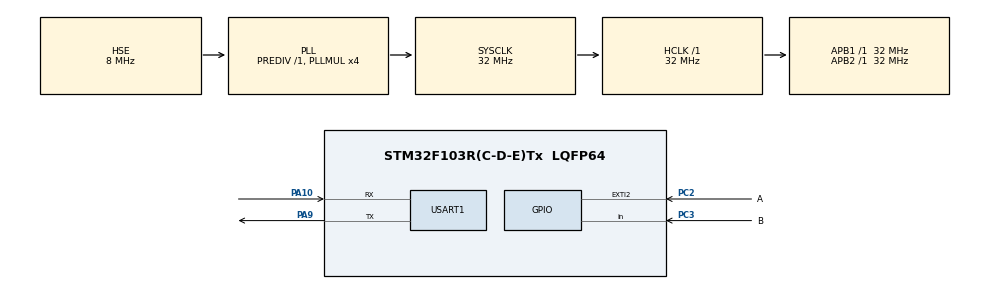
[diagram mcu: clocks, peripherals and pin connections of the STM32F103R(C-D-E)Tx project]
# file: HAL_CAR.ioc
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Mcu.Family=STM32F1
Mcu.Name=STM32F103R(C-D-E)Tx
Mcu.Package=LQFP64
NVIC.EXTI2_IRQn=true\:0\:0\:false\:false\:true\:true\:true
NVIC.PriorityGroup=NVIC_PRIORITYGROUP_4
NVIC.TIM2_IRQn=true\:0\:0\:false\:false\:true\:true\:true
NVIC.USART1_IRQn=true\:0\:0\:false\:false\:true\:true\:true
PA10.Mode=Asynchronous
PA10.Signal=USART1_RX
PA13.Mode=Serial_Wire
PA13.Signal=SYS_JTMS-SWDIO
PA14.Mode=Serial_Wire
PA14.Signal=SYS_JTCK-SWCLK
PA9.Mode=Asynchronous
PA9.Signal=USART1_TX
PC2.GPIO_Label=A
PC2.GPIO_ModeDefaultEXTI=GPIO_MODE_IT_RISING
PC2.GPIO_PuPd=GPIO_PULLDOWN
PC2.Signal=GPXTI2
PC3.GPIO_Label=B
PC3.Signal=GPIO_Input
PD0-OSC_IN.Mode=HSE-External-Oscillator
PD0-OSC_IN.Signal=RCC_OSC_IN
PD1-OSC_OUT.Mode=HSE-External-Oscillator
PD1-OSC_OUT.Signal=RCC_OSC_OUT
ProjectManager.HeapSize=0x200
ProjectManager.StackSize=0x400
ProjectManager.TargetToolchain=Other Toolchains (GPDSC)
RCC.AHBFreq_Value=32000000
RCC.APB1Freq_Value=32000000
RCC.APB1TimFreq_Value=32000000
RCC.APB2Freq_Value=32000000
RCC.APB2TimFreq_Value=32000000
RCC.HCLKFreq_Value=32000000
RCC.PLLMUL=RCC_PLL_MUL4
RCC.PLLSourceVirtual=RCC_PLLSOURCE_HSE
RCC.SYSCLKFreq_VALUE=32000000
RCC.SYSCLKSource=RCC_SYSCLKSOURCE_PLLCLK
RCC.USBFreq_Value=32000000
TIM2.Period=199
TIM2.Prescaler=31999
USART1.VirtualMode=VM_ASYNC
VP_TIM2_VS_ClockSourceINT.Mode=Internal
board=custom

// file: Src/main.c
/* USER CODE BEGIN Header */
/**
  ******************************************************************************
  * @file           : main.c
  * @brief          : Main program body
  ******************************************************************************
  * @attention
  *
  * <h2><center>&copy; Copyright (c) 2020 STMicroelectronics.
  * All rights reserved.</center></h2>
  *
  * This software component is licensed by ST under BSD 3-Clause license,
  * the "License"; You may not use this file except in compliance with the
  * License. You may obtain a copy of the License at:
  *                        opensource.org/licenses/BSD-3-Clause
  *
  ******************************************************************************
  */
/* USER CODE END Header */

#include "main.h"
#include "tim.h"
#include "usart.h"
#include "gpio.h"

void SystemClock_Config(void);

/* USER CODE BEGIN 0 */
int COUNT = 0;             //用来计数
char str_buff[64];
char point[64];
float speed = 0;               //速度
int flag = 0;                  //flag=0时计数，flag=1时清零

void HAL_GPIO_EXTI_Callback(uint16_t GPIO_Pin)
{
	if (GPIO_Pin == GPIO_PIN_2)
	{
		if (flag == 1)
			COUNT = 0;
		else
		{
			if (HAL_GPIO_ReadPin(GPIOC, GPIO_PIN_3) == 0)
				COUNT++;
			else
			{
				COUNT--;
			}
		}
	}
}

void HAL_TIM_PeriodElapsedCallback(TIM_HandleTypeDef *htim)
{
	if (htim->Instance == TIM2)
	{
		if (flag == 0)
		{
			speed = (float)COUNT * 3.14 * 0.14 / (90 * 0.2)*100/34; //cm/s
			sprintf(str_buff, "speed:%dcm/s\r\n",(int)speed);
			HAL_UART_Transmit_IT(&huart1, (uint8_t*)str_buff, sizeof(str_buff));
			flag = 1;
		}
		else
		{
			flag = 0;
		}
	}
}
/* USER CODE END 0 */

int main(void)
{

  /* MCU Configuration--------------------------------------------------------*/

  /* Reset of all peripherals, Initializes the Flash interface and the Systick. */
  HAL_Init();

  /* Configure the system clock */
  SystemClock_Config();

  /* Initialize all configured peripherals */
  MX_GPIO_Init();
  MX_TIM2_Init();
  MX_USART1_UART_Init();
  /* USER CODE BEGIN 2 */
	HAL_TIM_Base_Start_IT(&htim2);
  /* USER CODE END 2 */

  /* Infinite loop */
  while (1)
  {

  }
}

void SystemClock_Config(void)
{
  RCC_OscInitTypeDef RCC_OscInitStruct = {0};
  RCC_ClkInitTypeDef RCC_ClkInitStruct = {0};

  /** Initializes the CPU, AHB and APB busses clocks
  */
  RCC_OscInitStruct.OscillatorType = RCC_OSCILLATORTYPE_HSE;
  RCC_OscInitStruct.HSEState = RCC_HSE_ON;
  RCC_OscInitStruct.HSEPredivValue = RCC_HSE_PREDIV_DIV1;
  RCC_OscInitStruct.HSIState = RCC_HSI_ON;
  RCC_OscInitStruct.PLL.PLLState = RCC_PLL_ON;
  RCC_OscInitStruct.PLL.PLLSource = RCC_PLLSOURCE_HSE;
  RCC_OscInitStruct.PLL.PLLMUL = RCC_PLL_MUL4;
  if (HAL_RCC_OscConfig(&RCC_OscInitStruct) != HAL_OK)
  {
    Error_Handler();
  }
  /** Initializes the CPU, AHB and APB busses clocks
  */
  RCC_ClkInitStruct.ClockType = RCC_CLOCKTYPE_HCLK|RCC_CLOCKTYPE_SYSCLK
                              |RCC_CLOCKTYPE_PCLK1|RCC_CLOCKTYPE_PCLK2;
  RCC_ClkInitStruct.SYSCLKSource = RCC_SYSCLKSOURCE_PLLCLK;
  RCC_ClkInitStruct.AHBCLKDivider = RCC_SYSCLK_DIV1;
  RCC_ClkInitStruct.APB1CLKDivider = RCC_HCLK_DIV1;
  RCC_ClkInitStruct.APB2CLKDivider = RCC_HCLK_DIV1;

  if (HAL_RCC_ClockConfig(&RCC_ClkInitStruct, FLASH_LATENCY_1) != HAL_OK)
  {
    Error_Handler();
  }
}

void Error_Handler(void)
{
}

/************************ (C) COPYRIGHT STMicroelectronics *****END OF FILE****/
